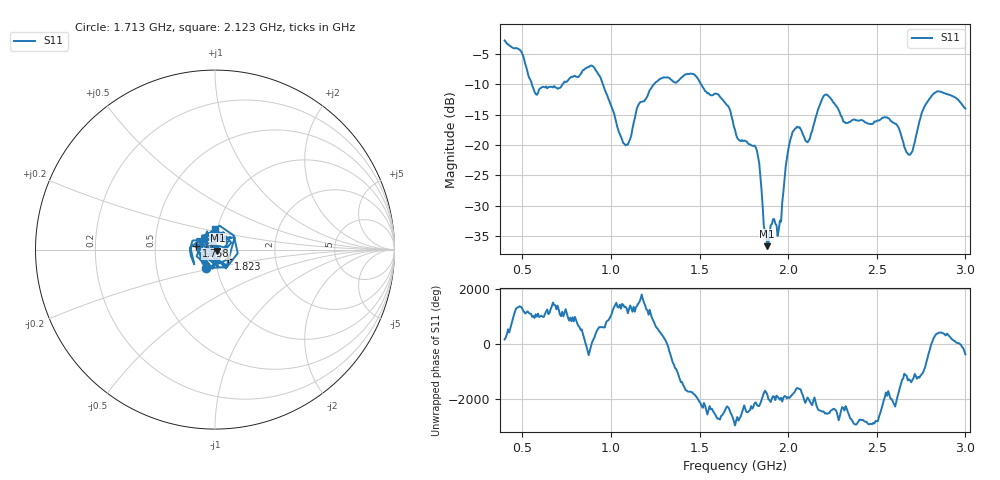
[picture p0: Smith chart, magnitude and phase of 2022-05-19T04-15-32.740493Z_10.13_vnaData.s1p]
!Created with skrf (http://scikit-rf.org).
# Hz S RI R 50.0
!freq ReS11 ImS11
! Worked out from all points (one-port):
!   401 points, 400 MHz to 3 GHz, reference 50 ohm
!   lowest |S11| = -36.6 dB at 1.882 GHz (marker M1), VSWR 1.03, Z = 51.4 - j0.519 ohm
!   |S11| at or under -10 dB: 553.5 MHz to 728.7 MHz (175.2 MHz wide, 27.3 % of centre); 953.9 MHz to 1.244 GHz (290.4 MHz wide, 26.4 % of centre); 1.508 GHz to end of sweep
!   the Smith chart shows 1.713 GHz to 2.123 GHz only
!   S11 on the Smith chart (normalised r, x): 1.713 GHz: 0.89, -0.18; 1.758 GHz: 0.81, +0.03; 1.823 GHz: 1.15, -0.12; 2.123 GHz: 0.97, +0.22
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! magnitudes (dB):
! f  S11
! 400 MHz  -2.9
! 491 MHz  -4.6
! 575.5 MHz  -11.6
! 725 MHz  -10.1
! 900.5 MHz  -7.1
! 1.05 GHz  -18.2
! 1.095 GHz  -19.9
! 1.154 GHz  -13.5
! 1.258 GHz  -9.6
! 1.375 GHz  -9.6
! 1.46 GHz  -8.3
! 1.609 GHz  -11.8
! 1.7 GHz  -17.5
! 1.713 GHz  -18.9
! 1.758 GHz  -19.4
! 1.823 GHz  -20.9
! 1.869 GHz  -34.1
! 1.882 GHz  -36.6
! 1.954 GHz  -32.4
! 1.992 GHz  -22.2
! 2.025 GHz  -17.8
! 2.123 GHz  -19.0
! 2.207 GHz  -11.8
! 2.35 GHz  -16.2
! 2.558 GHz  -15.5
! 2.675 GHz  -21.4
! 2.825 GHz  -11.5
! 3 GHz  -14.0
